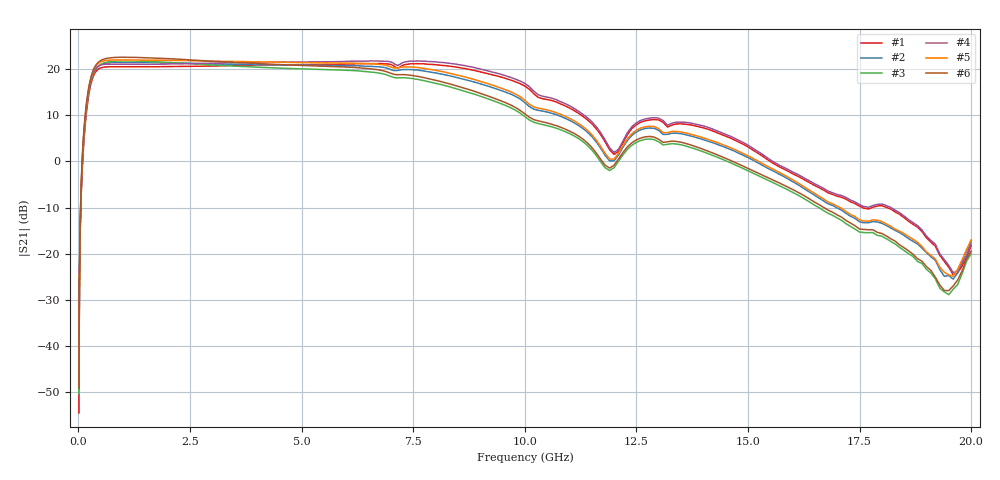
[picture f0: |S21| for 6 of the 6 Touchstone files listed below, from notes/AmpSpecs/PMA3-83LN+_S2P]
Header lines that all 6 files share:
!Mini-Circuits Laboratory
!S2P DATA File Format
!Type: MMIC Amplifier
!Model: PMA3-83LN+
!S/N: Unit 2
!Fixture: Unit soldered on TB-830A+ RUN  MN61900 D/C 1537, no port extension
!PIN OUT: PORT 1 - PIN 2, PORT 2 - PIN 8, GROUND - PADDLE, DC POWER SUPPLY - PIN 8, NOT CONNECTED - PINS 1,3 to 7, 9 to 12
!WAFER/LOT#: CP483P004-02, CP483P004-03,CP483P004-04,
!Network Analyzer: PNA-X N5242A S/N 71404 CAL DUE: 09/10/2016
!P.Supply/Multimeter: HP E3632A S/N 63249 CAL DUE: 12/11/2015
!Power Meter: Agilent U2000A S/N 74434 CAL DUE: 10/17/2015
# Hz  S  dB  R  50
!Frequency  S11 dB  S11 Deg  S21 dB  S21 Deg  S12 dB  S12 Deg  S22 dB  S22 Deg
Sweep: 10 MHz to 20 GHz
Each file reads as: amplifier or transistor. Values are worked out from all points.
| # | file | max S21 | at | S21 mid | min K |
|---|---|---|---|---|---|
| 1 | PMA3-83LN+_5V_Minus45DegC_Unit2.s2p | 21.3 dB | 6.7 GHz | 21.1 dB at 5.55 GHz | -453.06 |
| 2 | PMA3-83LN+_5V_Plus25DegC_Unit2.s2p | 21.5 dB | 960 MHz | 20.8 dB at 5.55 GHz | 1.09 |
| 3 | PMA3-83LN+_5V_Plus85DegC_Unit2.s2p | 21.8 dB | 1.05 GHz | 19.9 dB at 5.55 GHz | 1.10 |
| 4 | PMA3-83LN+_6V_Minus45DegC_Unit2.s2p | 21.8 dB | 7.6 GHz | 21.6 dB at 5.55 GHz | -75.73 |
| 5 | PMA3-83LN+_6V_Plus25DegC_Unit2.s2p | 22.0 dB | 900 MHz | 21.4 dB at 5.55 GHz | 1.09 |
| 6 | PMA3-83LN+_6V_Plus85DegC_Unit2.s2p | 22.6 dB | 1 GHz | 20.7 dB at 5.55 GHz | 1.09 |
